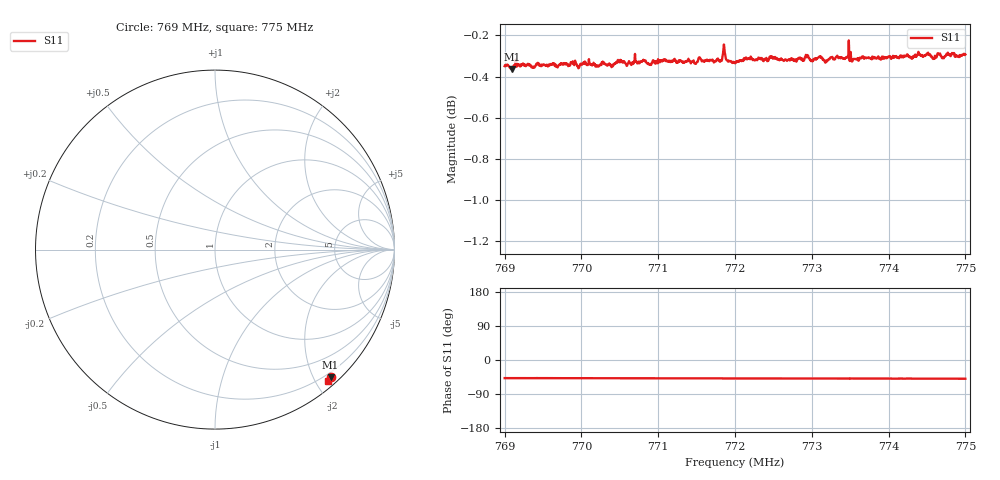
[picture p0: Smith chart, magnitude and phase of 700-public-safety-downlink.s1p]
! Calibrated averaged scanner-service zoom
# Hz S RI R 50
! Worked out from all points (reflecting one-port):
!   1001 points, 769 MHz to 775 MHz, reference 50 ohm
!   lowest |S11| = -0.4 dB at 769.102 MHz (marker M1), VSWR 47.81, Z = 6.36 - j113 ohm
!   phase of S11 starts at -48 deg and turns -2 deg over the sweep
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7.69e8  0.6451 -0.7117
7.69102e8  0.6442 -0.7105
7.69162e8  0.6447 -0.7137
7.6939e8  0.6441 -0.7117
7.6975e8  0.6438 -0.7144
7.69972e8  0.6419 -0.7139
7.70128e8  0.643 -0.7146
7.7023e8  0.6409 -0.7159
7.70416e8  0.6419 -0.716
7.705e8  0.6425 -0.7168
7.7125e8  0.6399 -0.7188
7.71778e8  0.6398 -0.722
7.7185e8  0.6416 -0.7272
7.71916e8  0.6385 -0.7216
7.72e8  0.6377 -0.7204
7.72186e8  0.6393 -0.7221
7.7227e8  0.6365 -0.7238
7.72336e8  0.638 -0.723
7.7275e8  0.6366 -0.7244
7.735e8  0.6351 -0.7279
7.73548e8  0.6348 -0.7261
7.73662e8  0.6335 -0.7289
7.7425e8  0.6327 -0.7307
7.74514e8  0.6317 -0.7332
7.74598e8  0.6307 -0.7297
7.7464e8  0.6329 -0.7318
7.7485e8  0.6326 -0.7322
7.75e8  0.6292 -0.734
